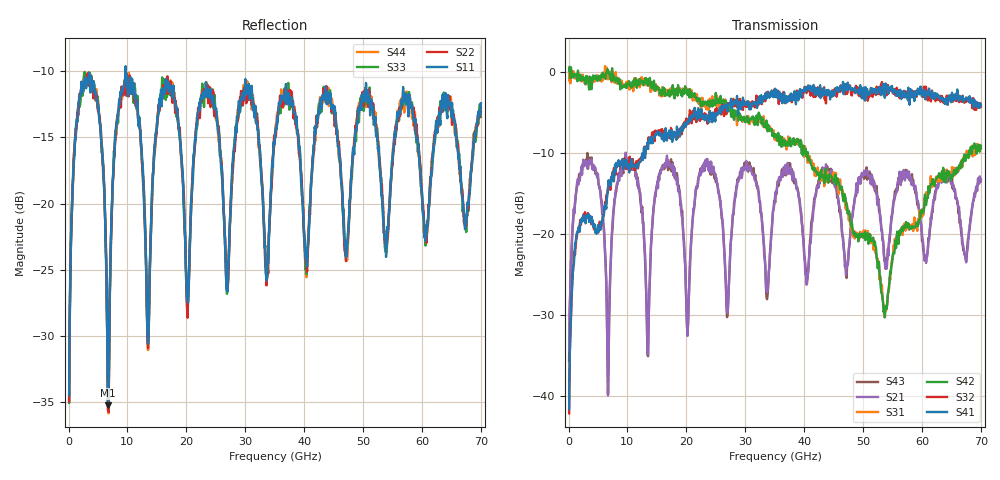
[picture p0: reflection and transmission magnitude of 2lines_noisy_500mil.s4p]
# GHz S RI R 50
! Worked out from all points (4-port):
!   700 points, 100 MHz to 70 GHz, reference 50 ohm
!   strongest paths, dB at 100 MHz, 17.6 GHz, 35.1 GHz, 52.6 GHz, 70 GHz:
!     S41: -41.6, -8.6, -2.1, -2.4, -4.1
!     S32: -42.1, -7.9, -2.3, -2.0, -4.3
!     S42: 0.1, -2.2, -7.7, -23.4, -9.4
!     S31: -1.1, -2.3, -8.1, -23.5, -9.2
!     S21: -35.5, -11.7, -14.8, -16.5, -13.4
!     S43: -35.7, -11.1, -16.1, -15.6, -13.3
!   lowest |S11| = -35.2 dB at 6.7 GHz (marker M1), VSWR 1.04, Z = 51.6 - j0.78 ohm
!   |S11| at or under -10 dB: start of sweep to 9.659 GHz; 9.735 GHz to end of sweep
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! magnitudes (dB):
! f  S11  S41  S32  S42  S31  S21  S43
! 100 MHz  -34.5  -41.6  -42.1  0.1  -1.1  -35.5  -35.7
! 2.9 GHz  -10.8  -18.7  -17.7  -1.5  -1.5  -11.0  -10.8
! 6.7 GHz  -35.2  -14.5  -14.2  -0.1  -0.9  -39.9  -39.8
! 10 GHz  -11.2  -11.8  -11.3  -1.6  -1.6  -11.1  -11.3
! 13.5 GHz  -30.6  -9.5  -9.0  -1.7  -1.3  -34.9  -35.1
! 53.8 GHz  -22.4  -1.4  -2.2  -29.2  -29.4  -24.3  -24.1
! 70 GHz  -12.4  -4.1  -4.3  -9.4  -9.2  -13.4  -13.3
